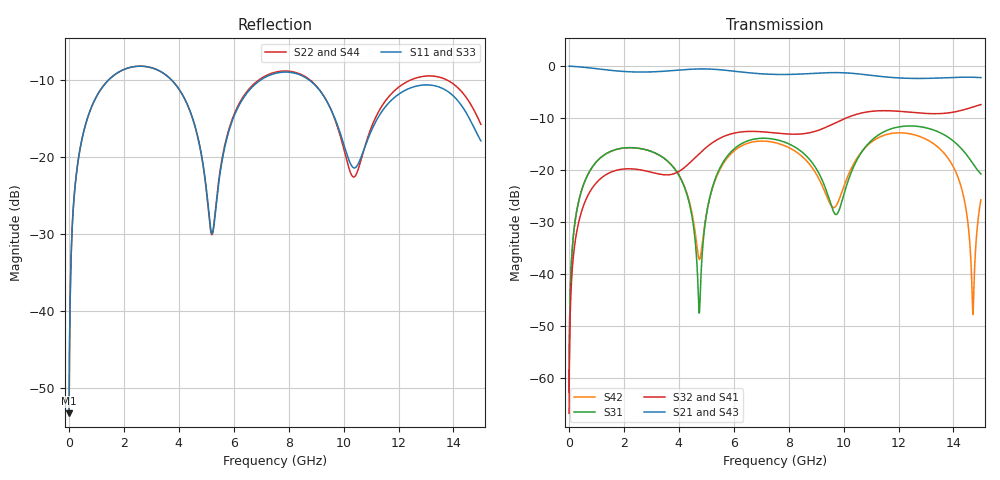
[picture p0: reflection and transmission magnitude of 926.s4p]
! Created with skrf 1.8.0 (http://scikit-rf.org).
# GHz S RI R 50.0
!freq ReS11 ImS11 ReS12 ImS12 ReS13 ImS13
! ReS14 ImS14
! ReS21 ImS21 ReS22 ImS22 ReS23 ImS23
! ReS24 ImS24
! ReS31 ImS31 ReS32 ImS32 ReS33 ImS33
! ReS34 ImS34
! ReS41 ImS41 ReS42 ImS42 ReS43 ImS43
! ReS44 ImS44
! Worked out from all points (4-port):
!   2499 points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, 5 MHz to 15 GHz, reference 50 ohm
!   strongest paths, dB at 5 MHz, 3.476 GHz, 7.19 GHz, 11.1 GHz, 15 GHz:
!     S21: 0.0, -1.0, -1.5, -1.8, -2.2
!     S43: 0.0, -1.0, -1.6, -1.8, -2.2
!     S32: -66.8, -20.9, -12.7, -8.7, -7.4
!     S41: -66.8, -21.0, -12.8, -8.7, -7.4
!     S31: -62.8, -17.8, -13.9, -13.9, -20.7
!     S42: -62.8, -17.8, -14.5, -14.3, -25.7
!   lowest |S11| = -53.3 dB at 5 MHz (marker M1), VSWR 1.00, Z = 50.2 + j0.131 ohm
!   |S11| at or under -10 dB: start of sweep to 1.434 GHz; 3.743 GHz to 6.973 GHz (3.23 GHz wide, 60.3 % of centre); 8.753 GHz to end of sweep
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0.005  0.00172 0.0013  0.9982 -0.00335  8.81e-05 0.000722  -8.54e-05 -0.000447
       0.9982 -0.00335  0.00172 0.0013  -8.54e-05 -0.000447  8.81e-05 0.000722
       8.81e-05 0.000722  -8.54e-05 -0.000447  0.00172 0.0013  0.9982 -0.00335
       -8.54e-05 -0.000447  8.81e-05 0.000722  0.9982 -0.00335  0.00172 0.0013
0.3626511  0.0329 0.0971  0.9545 -0.2393  0.0165 0.0484  -0.0136 -0.0292
           0.9545 -0.2393  0.0329 0.0971  -0.0136 -0.0292  0.0165 0.0484
           0.0165 0.0484  -0.0136 -0.0292  0.0329 0.0971  0.9545 -0.2393
           -0.0136 -0.0292  0.0165 0.0484  0.9545 -0.2393  0.0329 0.0971
1.619545  0.2965 0.163  0.4853 -0.7631  0.1445 0.0552  -0.0972 0.00506
          0.4853 -0.7631  0.2967 0.1628  -0.0972 0.00518  0.144 0.056
          0.1445 0.0552  -0.0972 0.00518  0.2964 0.163  0.4853 -0.7632
          -0.0972 0.00506  0.144 0.056  0.4853 -0.7632  0.2967 0.1627
4.745727  0.0598 -0.1069  -0.8766 -0.3363  -0.00416 -0.000474  -0.0479 0.1355
          -0.8766 -0.3363  0.0588 -0.1058  -0.0468 0.1359  -0.0134 -0.00351
          -0.00416 -0.000474  -0.0468 0.1359  0.0586 -0.1061  -0.8769 -0.336
          -0.0479 0.1355  -0.0134 -0.00351  -0.8769 -0.336  0.0591 -0.1045
8.04085  0.3547 -0.0272  -0.0189 0.8313  0.1498 -0.0937  0.2119 -0.0591
         -0.0189 0.8313  0.3596 -0.0345  0.2125 -0.0626  0.1461 -0.0712
         0.1498 -0.0937  0.2125 -0.0626  0.3571 -0.0238  -0.0193 0.8301
         0.2119 -0.0591  0.1461 -0.0712  -0.0193 0.8301  0.3634 -0.0375
10.77324  0.1058 0.0473  0.8265 -0.0448  0.0677 0.1491  -0.0392 -0.3567
          0.8265 -0.0448  0.0996 0.0611  -0.045 -0.3561  0.0334 0.1591
          0.0677 0.1491  -0.045 -0.3561  0.1057 0.0423  0.827 -0.0423
          -0.0392 -0.3567  0.0334 0.1591  0.827 -0.0423  0.0989 0.0578
15  0.1237 -0.031  -0.6121 -0.4742  -0.0851 -0.0347  -0.2608 0.3372
    -0.6121 -0.4742  0.1308 -0.0978  -0.2522 0.3437  -0.0153 0.0493
    -0.0851 -0.0347  -0.2522 0.3437  0.1278 -0.0295  -0.61 -0.4767
    -0.2608 0.3372  -0.0153 0.0493  -0.61 -0.4767  0.13 -0.0999
